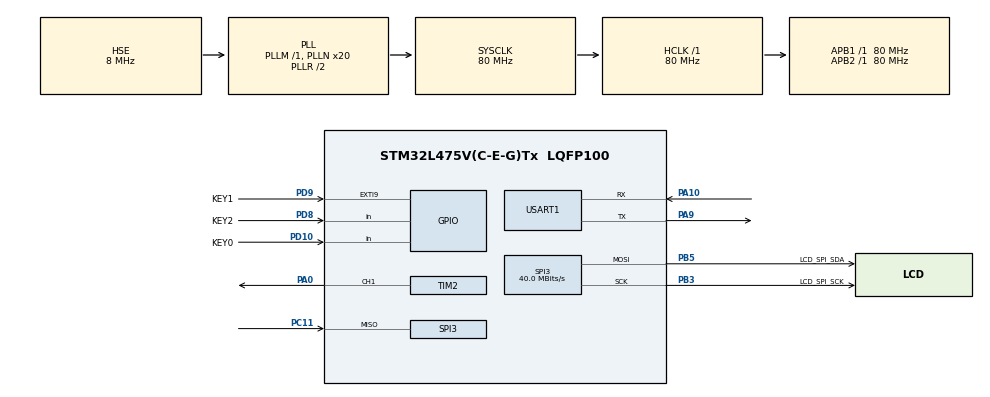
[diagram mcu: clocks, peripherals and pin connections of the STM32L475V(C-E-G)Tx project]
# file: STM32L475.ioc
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Mcu.Family=STM32L4
Mcu.Name=STM32L475V(C-E-G)Tx
Mcu.Package=LQFP100
NVIC.EXTI9_5_IRQn=true\:1\:3\:true\:false\:true\:true\:true
NVIC.PriorityGroup=NVIC_PRIORITYGROUP_1
NVIC.TIM1_UP_TIM16_IRQn=true\:0\:0\:false\:false\:true\:true\:true
NVIC.TIM3_IRQn=true\:0\:0\:false\:false\:true\:true\:true
PA0.Signal=S_TIM2_CH1
PA10.Mode=Asynchronous
PA10.Signal=USART1_RX
PA13\ (JTMS-SWDIO).Mode=Serial_Wire
PA13\ (JTMS-SWDIO).Signal=SYS_JTMS-SWDIO
PA14\ (JTCK-SWCLK).Mode=Serial_Wire
PA14\ (JTCK-SWCLK).Signal=SYS_JTCK-SWCLK
PA9.Mode=Asynchronous
PA9.Signal=USART1_TX
PB3\ (JTDO-TRACESWO).GPIO_Label=LCD_SPI_SCK
PB3\ (JTDO-TRACESWO).Mode=Full_Duplex_Master
PB3\ (JTDO-TRACESWO).Signal=SPI3_SCK
PB5.GPIO_Label=LCD_SPI_SDA
PB5.Mode=Full_Duplex_Master
PB5.Signal=SPI3_MOSI
PC11.Mode=Full_Duplex_Master
PC11.Signal=SPI3_MISO
PD10.GPIO_Label=KEY0
PD10.GPIO_PuPd=GPIO_PULLUP
PD10.Signal=GPIO_Input
PD8.GPIO_Label=KEY2
PD8.GPIO_PuPd=GPIO_PULLUP
PD8.Signal=GPIO_Input
PD9.GPIO_Label=KEY1
PD9.GPIO_ModeDefaultEXTI=GPIO_MODE_IT_FALLING
PD9.GPIO_PuPd=GPIO_PULLUP
PD9.Signal=GPXTI9
PH0-OSC_IN\ (PH0).Mode=HSE-External-Oscillator
PH0-OSC_IN\ (PH0).Signal=RCC_OSC_IN
PH1-OSC_OUT\ (PH1).Mode=HSE-External-Oscillator
PH1-OSC_OUT\ (PH1).Signal=RCC_OSC_OUT
ProjectManager.HeapSize=0x200
ProjectManager.StackSize=0x400
ProjectManager.TargetToolchain=MDK-ARM V5.27
RCC.ADCFreq_Value=32000000
RCC.AHBFreq_Value=80000000
RCC.APB1Freq_Value=80000000
RCC.APB1TimFreq_Value=80000000
RCC.APB2Freq_Value=80000000
RCC.APB2TimFreq_Value=80000000
RCC.CortexFreq_Value=80000000
RCC.HCLKFreq_Value=80000000
RCC.HSE_VALUE=8000000
RCC.HSI_VALUE=16000000
RCC.LSE_VALUE=32768
RCC.MSI_VALUE=4000000
RCC.PLLN=20
RCC.PLLSourceVirtual=RCC_PLLSOURCE_HSE
RCC.SYSCLKFreq_VALUE=80000000
RCC.SYSCLKSource=RCC_SYSCLKSOURCE_PLLCLK
RCC.USBFreq_Value=32000000
RCC.VCOOutputFreq_Value=160000000
SH.S_TIM2_CH1.0=TIM2_CH1,PWM Generation1 CH1
SPI3.CLKPhase=SPI_PHASE_2EDGE
SPI3.CLKPolarity=SPI_POLARITY_HIGH
SPI3.CalculateBaudRate=40.0 MBits/s
SPI3.DataSize=SPI_DATASIZE_8BIT
SPI3.Direction=SPI_DIRECTION_2LINES
SPI3.Mode=SPI_MODE_MASTER
SPI3.VirtualType=VM_MASTER
TIM1.Period=2000-1
TIM1.Prescaler=40000-1
TIM2.Channel-PWM\ Generation1\ CH1=TIM_CHANNEL_1
TIM2.OC1Preload_PWM=ENABLE
TIM2.OCMode_PWM-PWM\ Generation1\ CH1=TIM_OCMODE_COMBINED_PWM1
TIM2.Period=20000-1
TIM2.Prescaler=40000-1
TIM2.Pulse-PWM\ Generation1\ CH1=10000
TIM3.Period=1000-1
TIM3.Prescaler=40000-1
USART1.VirtualMode-Asynchronous=VM_ASYNC
VP_TIM1_VS_ClockSourceINT.Mode=Internal
VP_TIM2_VS_ClockSourceINT.Mode=Internal
VP_TIM3_VS_ClockSourceINT.Mode=Internal
board=custom

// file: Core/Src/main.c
/* USER CODE BEGIN Header */
/**
  ******************************************************************************
  * @file           : main.c
  * @brief          : Main program body
  ******************************************************************************
  * @attention
  *
  * <h2><center>&copy; Copyright (c) 2020 STMicroelectronics.
  * All rights reserved.</center></h2>
  *
  * This software component is licensed by ST under BSD 3-Clause license,
  * the "License"; You may not use this file except in compliance with the
  * License. You may obtain a copy of the License at:
  *                        opensource.org/licenses/BSD-3-Clause
  *
  ******************************************************************************
  */
/* USER CODE END Header */
#include "main.h"
#include "spi.h"
#include "tim.h"
#include "usart.h"
#include "gpio.h"

/* USER CODE BEGIN Includes */
#include <string.h>
#include "LED.h"
#include "BEEP.h"
#include "MOTOR.h"
#include "LCD.h"
#include "h.h"
/* USER CODE END Includes */

/* USER CODE BEGIN PV */
uint8_t recv_buf[10];
/* USER CODE END PV */

void SystemClock_Config(void);
/* USER CODE BEGIN PFP */
void my_printf(uint8_t *str);

/* USER CODE END PFP */

int main(void)
{
  /* USER CODE BEGIN 1 */
	uint8_t color = 0;
  /* USER CODE END 1 */

  /* MCU Configuration--------------------------------------------------------*/

  /* Reset of all peripherals, Initializes the Flash interface and the Systick. */
  HAL_Init();

  /* Configure the system clock */
  SystemClock_Config();

  /* Initialize all configured peripherals */
  MX_GPIO_Init();
  MX_USART1_UART_Init();
  MX_TIM1_Init();
  MX_TIM2_Init();
  MX_TIM3_Init();
  MX_SPI3_Init();
  /* USER CODE BEGIN 2 */
  LED_init();
  BEEP_Init();
  LCD_Init();
  //MOTOR_init();

  HAL_TIM_PWM_Start(&htim2,TIM_CHANNEL_1);
  HAL_TIM_Base_Start_IT(&htim3);
  HAL_TIM_Base_Start_IT(&htim1);
  //LED_streamlight(1000);
  my_printf((uint8_t *)"hello !!!");
  //Display_ALIENTEK_LOGO(0,0);
	LCD_Show_Image(0, 0, 240, 240, gImage_h);
  //LCD_Draw_Point(0,0);
	//LCD_ShowString(0, 100, 240, 32, 32, "Pandora STM32L4");
	HAL_Delay(5000);
  /* USER CODE END 2 */

  /* Infinite loop */
  /* USER CODE BEGIN WHILE */
  while (1)
  {

    if(HAL_GPIO_ReadPin(KEY0_GPIO_Port,KEY0_Pin)==GPIO_PIN_RESET)
    {
      TIM2->CCR1 = 200;
    }
		switch(color % 12)
        {
            case 0:
                LCD_Clear(WHITE);
                break;
            case 1:
                LCD_Clear(BLACK);
                break;
            case 2:
                LCD_Clear(BLUE);
                break;
            case 3:
                LCD_Clear(RED);
                break;
            case 4:
                LCD_Clear(MAGENTA);
                break;
            case 5:
                LCD_Clear(GREEN);
                break;
            case 6:
                LCD_Clear(CYAN);
                break;
            case 7:
                LCD_Clear(YELLOW);
                break;
            case 8:
                LCD_Clear(BRRED);
                break;
            case 9:
                LCD_Clear(GRAY);
                break;
            case 10:
                LCD_Clear(LGRAY);
                break;
            case 11:
                LCD_Clear(BROWN);
                break;
            default :
                color = 0;
                break;
					}
		color++;
		HAL_Delay(1000);
    /* USER CODE END WHILE */

  }
}

void SystemClock_Config(void)
{
  RCC_OscInitTypeDef RCC_OscInitStruct = {0};
  RCC_ClkInitTypeDef RCC_ClkInitStruct = {0};
  RCC_PeriphCLKInitTypeDef PeriphClkInit = {0};

  /** Initializes the RCC Oscillators according to the specified parameters
  * in the RCC_OscInitTypeDef structure.
  */
  RCC_OscInitStruct.OscillatorType = RCC_OSCILLATORTYPE_HSE;
  RCC_OscInitStruct.HSEState = RCC_HSE_ON;
  RCC_OscInitStruct.PLL.PLLState = RCC_PLL_ON;
  RCC_OscInitStruct.PLL.PLLSource = RCC_PLLSOURCE_HSE;
  RCC_OscInitStruct.PLL.PLLM = 1;
  RCC_OscInitStruct.PLL.PLLN = 20;
  RCC_OscInitStruct.PLL.PLLP = RCC_PLLP_DIV7;
  RCC_OscInitStruct.PLL.PLLQ = RCC_PLLQ_DIV2;
  RCC_OscInitStruct.PLL.PLLR = RCC_PLLR_DIV2;
  if (HAL_RCC_OscConfig(&RCC_OscInitStruct) != HAL_OK)
  {
    Error_Handler();
  }
  /** Initializes the CPU, AHB and APB buses clocks
  */
  RCC_ClkInitStruct.ClockType = RCC_CLOCKTYPE_HCLK|RCC_CLOCKTYPE_SYSCLK
                              |RCC_CLOCKTYPE_PCLK1|RCC_CLOCKTYPE_PCLK2;
  RCC_ClkInitStruct.SYSCLKSource = RCC_SYSCLKSOURCE_PLLCLK;
  RCC_ClkInitStruct.AHBCLKDivider = RCC_SYSCLK_DIV1;
  RCC_ClkInitStruct.APB1CLKDivider = RCC_HCLK_DIV1;
  RCC_ClkInitStruct.APB2CLKDivider = RCC_HCLK_DIV1;

  if (HAL_RCC_ClockConfig(&RCC_ClkInitStruct, FLASH_LATENCY_4) != HAL_OK)
  {
    Error_Handler();
  }
  PeriphClkInit.PeriphClockSelection = RCC_PERIPHCLK_USART1;
  PeriphClkInit.Usart1ClockSelection = RCC_USART1CLKSOURCE_PCLK2;
  if (HAL_RCCEx_PeriphCLKConfig(&PeriphClkInit) != HAL_OK)
  {
    Error_Handler();
  }
  /** Configure the main internal regulator output voltage
  */
  if (HAL_PWREx_ControlVoltageScaling(PWR_REGULATOR_VOLTAGE_SCALE1) != HAL_OK)
  {
    Error_Handler();
  }
}

/* USER CODE BEGIN 4 */
void HAL_GPIO_EXTI_Callback(uint16_t GPIO_Pin)
{
  LED_color(3);
  HAL_Delay(1000);
  LED_color(7);
  HAL_Delay(1000);
  TIM2->CCR1 = 700;

}
void HAL_TIM_PeriodElapsedCallback(TIM_HandleTypeDef *htim)
{
  if (htim->Instance == TIM3)
  {
    HAL_GPIO_TogglePin(LED_B_GPIO_Port, LED_B_Pin);
  }
  if (htim->Instance == TIM1)
  {
    my_printf((uint8_t*)"i am timer1\n");
  }
  if (htim->Instance == TIM2)
  {

    my_printf((uint8_t*)"i am timer2\n");
  }

  //BEEP_TogglePin();
}

void my_printf(uint8_t *str)
{
  HAL_UART_Transmit(&huart1, str, strlen((const char *)str), 120);
}
/* USER CODE END 4 */

void Error_Handler(void)
{
}

/************************ (C) COPYRIGHT STMicroelectronics *****END OF FILE****/
